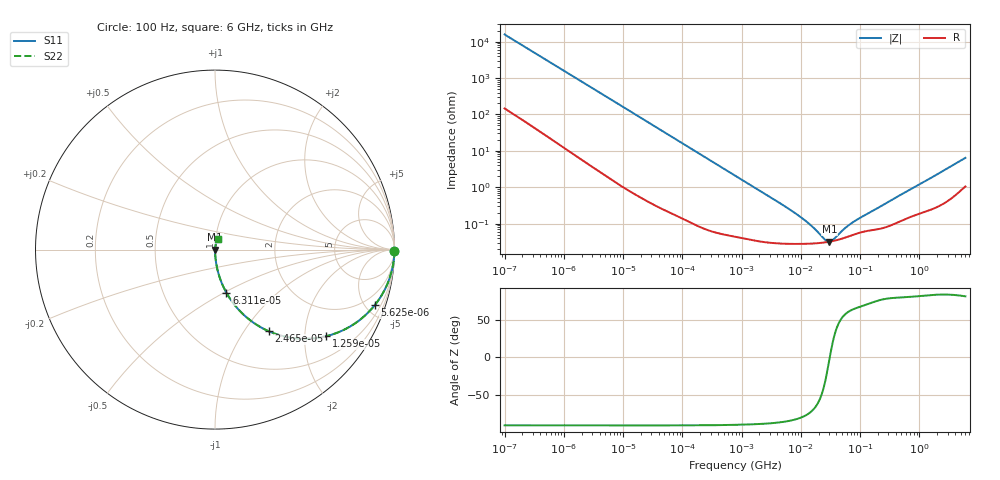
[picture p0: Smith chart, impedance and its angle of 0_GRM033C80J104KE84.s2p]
!Murata Part Number: GRM033C80J104KE84
!These Parameters are Measured in Series Mode Connection
!Data Generated on Mar 14, 2019
!  o--ll--o
!Port1  Port2
!  o------o
!Operation Temp=25[degC], DC Bias Voltage=0[V]
!Freq. Start=100[Hz] Stop=6[GHz] 401[Steps]
# Hz S RI R 50
!Freq.(Hz) S11(Real) S11(Imag) S21(Real) S21(Imag) S12(Real) S12(Imag) S22(Real) S22(Imag)
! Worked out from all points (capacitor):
!   401 points, 100 Hz to 6 GHz, reference 50 ohm
!   read as one part in series: C = 101 nF near 109 Hz
!   lowest |Z| = 31.9 mohm at 30.45 MHz (marker M1)
!   series resonance near 30.78 MHz, so ESL is about 260 pH
!   S11 on the Smith chart (normalised r, x): 100 Hz: open; 5.625 kHz: 1.04, -5.71; 12.59 kHz: 1.02, -2.56; 24.65 kHz: 1.01, -1.31; 63.12 kHz: 1.00, -0.51; 6 GHz: 1.02, +0.13
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100  0.9999 -0.00635  9.95e-05 0.00635  9.95e-05 0.00635  0.9999 -0.00635
627  0.9981 -0.0393  0.00187 0.0393  0.00187 0.0393  0.9981 -0.0393
2008  0.9836 -0.1234  0.0164 0.1234  0.0164 0.1234  0.9836 -0.1234
3594  0.9508 -0.2129  0.0492 0.2129  0.0492 0.2129  0.9508 -0.2129
5625  0.8892 -0.3107  0.1108 0.3107  0.1108 0.3107  0.8892 -0.3107
8416  0.7836 -0.4087  0.2164 0.4087  0.2164 0.4087  0.7836 -0.4087
12592  0.6199 -0.4823  0.3801 0.4823  0.3801 0.4823  0.6199 -0.4823
17227  0.4672 -0.4958  0.5328 0.4958  0.5328 0.4958  0.4672 -0.4958
24648  0.3014 -0.4556  0.6986 0.4556  0.6986 0.4556  0.3014 -0.4556
40335  0.1403 -0.3438  0.8597 0.3438  0.8597 0.3438  0.1403 -0.3438
63115  0.0634 -0.24  0.9366 0.24  0.9366 0.24  0.0634 -0.24
184852  0.00853 -0.0873  0.9915 0.0873  0.9915 0.0873  0.00853 -0.0873
774597  0.000882 -0.0211  0.9991 0.0211  0.9991 0.0211  0.000882 -0.0211
6353432  0.000284 -0.00249  0.9997 0.00249  0.9997 0.00249  0.000284 -0.00249
1.555665e7  0.000284 -0.000786  0.9997 0.000786  0.9997 0.000786  0.000284 -0.000786
2.545746e7  0.000304 -0.000202  0.9997 0.000202  0.9997 0.000202  0.000304 -0.000202
3.045065e7  0.000318 -1.12e-05  0.9997 1.12e-05  0.9997 1.12e-05  0.000318 -1.12e-05
3.482834e7  0.000332 0.000129  0.9997 -0.000129  0.9997 -0.000129  0.000332 0.000129
5.449875e7  0.000407 0.000602  0.9996 -0.000602  0.9996 -0.000602  0.000407 0.000602
7.455971e7  0.000486 0.000956  0.9995 -0.000956  0.9995 -0.000956  0.000486 0.000956
3.124326e8  0.000877 0.00402  0.9991 -0.00402  0.9991 -0.00402  0.000877 0.00402
6e9  0.0143 0.0617  0.9857 -0.0617  0.9857 -0.0617  0.0143 0.0617
